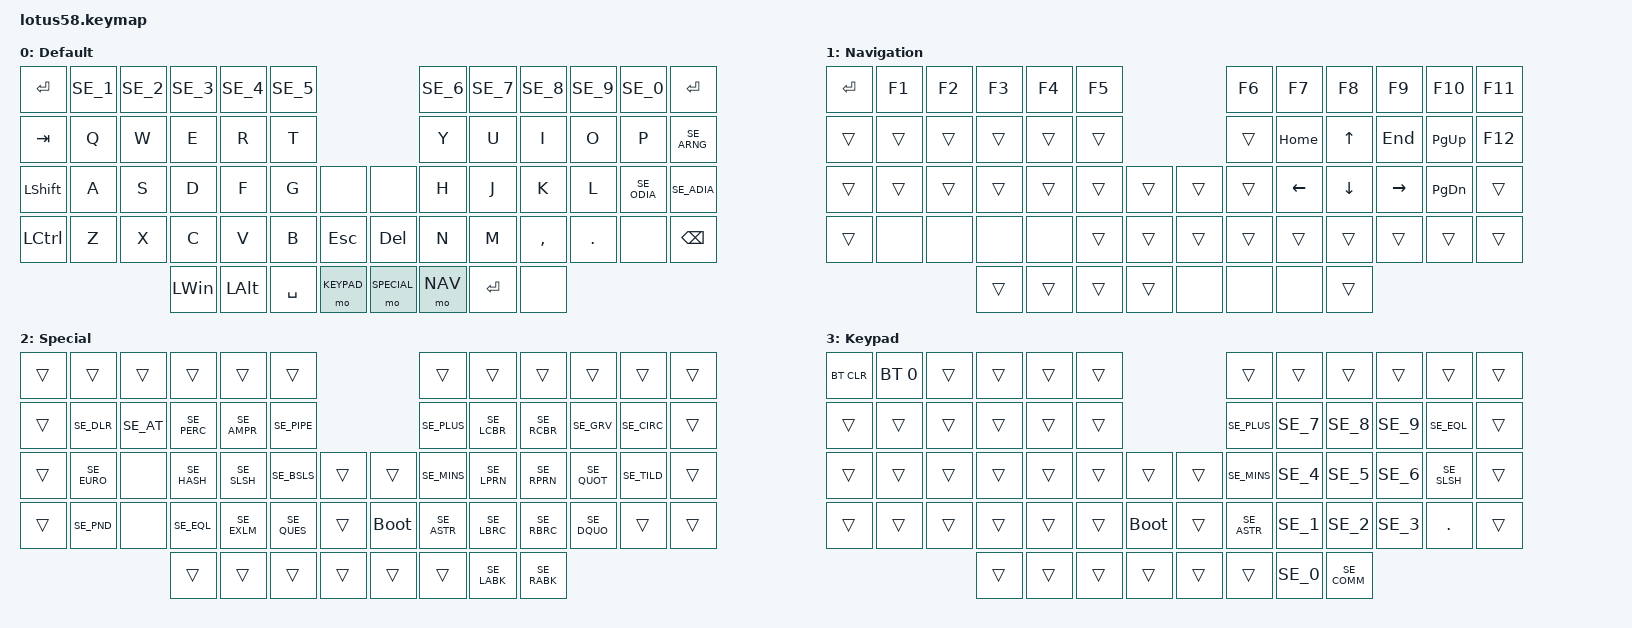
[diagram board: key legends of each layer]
/*
 * Copyright (c) 2022 The ZMK Contributors
 *
 * SPDX-License-Identifier: MIT
 */

#include <behaviors.dtsi>
#include <dt-bindings/zmk/bt.h>
#include <dt-bindings/zmk/keys.h>
#include "keymap_swedish.h"

#define DEFAULT 0
#define NAV 1
#define SPECIAL 2
#define KEYPAD 3

/ {

    keymap {
        compatible = "zmk,keymap";

        default_layer {
            bindings = <
&kp ENTER  &kp SE_1  &kp SE_2  &kp SE_3        &kp SE_4    &kp SE_5                             &kp SE_6    &kp SE_7   &kp SE_8   &kp SE_9 &kp SE_0     &kp ENTER
&kp TAB    &kp Q     &kp W     &kp E           &kp R       &kp T                                &kp Y       &kp U      &kp I      &kp O    &kp P        &kp SE_ARNG
&kp LSHFT  &kp A     &kp S     &kp D           &kp F       &kp G      &none        &none        &kp H       &kp J      &kp K      &kp L    &kp SE_ODIA  &kp SE_ADIA
&kp LCTRL  &kp Z     &kp X     &kp C           &kp V       &kp B      &kp ESCAPE   &kp DELETE   &kp N       &kp M      &kp COMMA  &kp DOT  &none        &kp BACKSPACE
                               &kp LEFT_WIN    &kp LALT    &kp SPACE  &mo KEYPAD   &mo SPECIAL   &mo NAV     &kp ENTER  &none
            >;

            label = "Default";
        };

        nav_layer {
            bindings = <
&kp ENTER  &kp F1    &kp F2   &kp F3    &kp F4    &kp F5                         &kp F6   &kp F7    &kp F8        &kp F9     &kp F10          &kp F11
&trans     &trans    &trans   &trans    &trans    &trans                         &trans   &kp HOME  &kp UP_ARROW  &kp END    &kp PAGE_UP      &kp F12
&trans     &trans    &trans   &trans    &trans    &trans   &trans       &trans   &trans   &kp LEFT  &kp DOWN      &kp RIGHT  &kp PAGE_DOWN    &trans
&trans     &none     &none    &none     &none     &trans   &trans       &trans   &trans   &trans    &trans        &trans     &trans           &trans
                              &trans    &trans    &trans   &trans       &none    &none    &none     &trans
            >;

            label = "Navigation";
        };

        special_layer {
            bindings = <
&trans  &trans       &trans     &trans        &trans         &trans                                     &trans        &trans         &trans        &trans        &trans       &trans
&trans  &kp SE_DLR   &kp SE_AT  &kp SE_PERC   &kp SE_AMPR    &kp SE_PIPE                                &kp SE_PLUS   &kp SE_LCBR    &kp SE_RCBR   &kp SE_GRV    &kp SE_CIRC  &trans
&trans  &kp SE_EURO  &none      &kp SE_HASH   &kp SE_SLSH    &kp SE_BSLS   &trans          &trans       &kp SE_MINS   &kp SE_LPRN    &kp SE_RPRN   &kp SE_QUOT   &kp SE_TILD  &trans
&trans  &kp SE_PND   &none      &kp SE_EQL    &kp SE_EXLM    &kp SE_QUES   &trans          &bootloader  &kp SE_ASTR   &kp SE_LBRC    &kp SE_RBRC   &kp SE_DQUO   &trans       &trans
                                &trans        &trans         &trans        &trans          &trans       &trans        &kp SE_LABK    &kp SE_RABK
            >;

            label = "Special";
        };

        keypad_layer {
            bindings = <
&bt BT_CLR  &bt BT_SEL 0  &trans  &trans  &trans  &trans                            &trans        &trans    &trans    &trans    &trans        &trans
&trans      &trans        &trans  &trans  &trans  &trans                            &kp SE_PLUS   &kp SE_7  &kp SE_8  &kp SE_9  &kp SE_EQL    &trans
&trans      &trans        &trans  &trans  &trans  &trans  &trans          &trans    &kp SE_MINS   &kp SE_4  &kp SE_5  &kp SE_6  &kp SE_SLSH   &trans
&trans      &trans        &trans  &trans  &trans  &trans  &bootloader     &trans    &kp SE_ASTR   &kp SE_1  &kp SE_2  &kp SE_3  &kp DOT       &trans
                                  &trans  &trans  &trans  &trans          &trans    &trans        &kp SE_0  &kp SE_COMM
            >;

            label = "Keypad";
        };
    };
};
